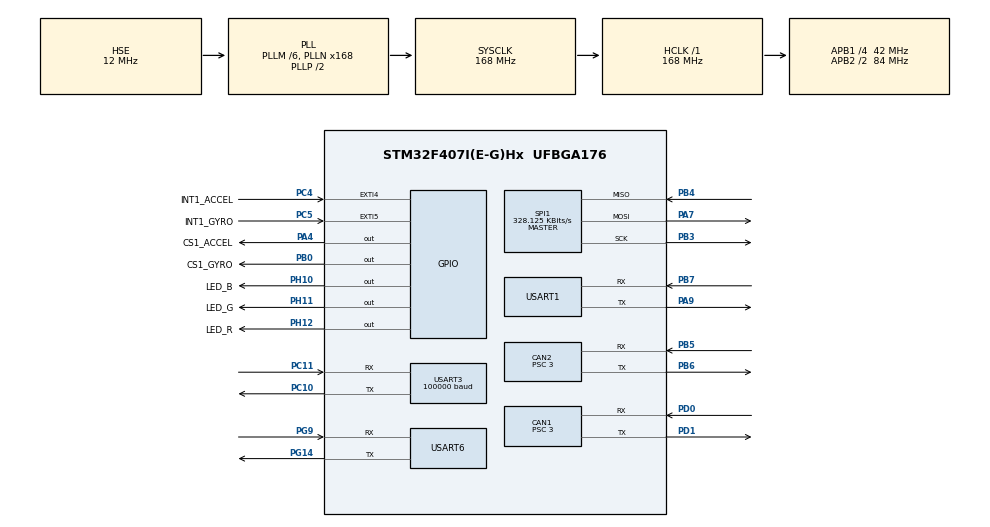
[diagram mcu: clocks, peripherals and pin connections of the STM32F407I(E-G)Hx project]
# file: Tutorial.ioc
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CAN1.BS1=CAN_BS1_10TQ
CAN1.BS2=CAN_BS2_3TQ
CAN1.CalculateBaudRate=1000000
CAN1.CalculateTimeBit=1000
CAN1.CalculateTimeQuantum=71.42857142857143
CAN1.Prescaler=3
CAN2.BS1=CAN_BS1_10TQ
CAN2.BS2=CAN_BS2_3TQ
CAN2.CalculateBaudRate=1000000
CAN2.CalculateTimeBit=1000
CAN2.CalculateTimeQuantum=71.42857142857143
CAN2.Prescaler=3
Dma.Request0=USART3_RX
Dma.Request1=SPI1_RX
Dma.Request2=SPI1_TX
Dma.SPI1_RX.1.Direction=DMA_PERIPH_TO_MEMORY
Dma.SPI1_RX.1.FIFOMode=DMA_FIFOMODE_DISABLE
Dma.SPI1_RX.1.Instance=DMA2_Stream2
Dma.SPI1_RX.1.MemDataAlignment=DMA_MDATAALIGN_BYTE
Dma.SPI1_RX.1.MemInc=DMA_MINC_ENABLE
Dma.SPI1_RX.1.Mode=DMA_NORMAL
Dma.SPI1_RX.1.PeriphDataAlignment=DMA_PDATAALIGN_BYTE
Dma.SPI1_RX.1.PeriphInc=DMA_PINC_DISABLE
Dma.SPI1_RX.1.Priority=DMA_PRIORITY_VERY_HIGH
Dma.SPI1_TX.2.Direction=DMA_MEMORY_TO_PERIPH
Dma.SPI1_TX.2.FIFOMode=DMA_FIFOMODE_DISABLE
Dma.SPI1_TX.2.Instance=DMA2_Stream3
Dma.SPI1_TX.2.MemDataAlignment=DMA_MDATAALIGN_BYTE
Dma.SPI1_TX.2.MemInc=DMA_MINC_ENABLE
Dma.SPI1_TX.2.Mode=DMA_NORMAL
Dma.SPI1_TX.2.PeriphDataAlignment=DMA_PDATAALIGN_BYTE
Dma.SPI1_TX.2.PeriphInc=DMA_PINC_DISABLE
Dma.SPI1_TX.2.Priority=DMA_PRIORITY_HIGH
Dma.USART3_RX.0.Direction=DMA_PERIPH_TO_MEMORY
Dma.USART3_RX.0.FIFOMode=DMA_FIFOMODE_DISABLE
Dma.USART3_RX.0.Instance=DMA1_Stream1
Dma.USART3_RX.0.MemDataAlignment=DMA_MDATAALIGN_BYTE
Dma.USART3_RX.0.MemInc=DMA_MINC_ENABLE
Dma.USART3_RX.0.Mode=DMA_NORMAL
Dma.USART3_RX.0.PeriphDataAlignment=DMA_PDATAALIGN_BYTE
Dma.USART3_RX.0.PeriphInc=DMA_PINC_DISABLE
Dma.USART3_RX.0.Priority=DMA_PRIORITY_VERY_HIGH
FREERTOS.Tasks01=LED_Task,0,128,LEDTask,As weak,NULL,Dynamic,NULL,NULL;Motor_Task,0,128,MotorTask,As weak,NULL,Dynamic,NULL,NULL;INS_TASK,3,2560,INS_Task,As weak,NULL,Dynamic,NULL,NULL;Chassis_TASK,2,128,Chassis_Task,As weak,NULL,Dynamic,NULL,NULL
Mcu.Family=STM32F4
Mcu.Name=STM32F407I(E-G)Hx
Mcu.Package=UFBGA176
NVIC.CAN1_RX0_IRQn=true\:5\:0\:false\:false\:true\:true\:true\:true\:true
NVIC.CAN2_RX0_IRQn=true\:5\:0\:false\:false\:true\:true\:true\:true\:true
NVIC.DMA1_Stream1_IRQn=true\:5\:0\:false\:false\:true\:true\:false\:true\:true
NVIC.DMA2_Stream2_IRQn=true\:5\:0\:false\:false\:true\:false\:false\:true\:true
NVIC.DMA2_Stream3_IRQn=true\:5\:0\:false\:false\:true\:true\:false\:true\:true
NVIC.PriorityGroup=NVIC_PRIORITYGROUP_4
NVIC.TIM2_IRQn=true\:15\:0\:false\:false\:true\:false\:false\:true\:true
NVIC.TimeBase=TIM2_IRQn
NVIC.TimeBaseIP=TIM2
NVIC.USART1_IRQn=true\:5\:0\:false\:false\:true\:true\:true\:true\:true
NVIC.USART3_IRQn=true\:5\:0\:false\:false\:true\:true\:true\:true\:true
NVIC.USART6_IRQn=true\:5\:0\:false\:false\:true\:true\:true\:true\:true
PA13.Mode=Serial_Wire
PA13.Signal=SYS_JTMS-SWDIO
PA14.Mode=Serial_Wire
PA14.Signal=SYS_JTCK-SWCLK
PA4.GPIO_Label=CS1_ACCEL
PA4.GPIO_PuPd=GPIO_PULLUP
PA4.GPIO_Speed=GPIO_SPEED_FREQ_HIGH
PA4.PinState=GPIO_PIN_SET
PA4.Signal=GPIO_Output
PA7.GPIO_PuPd=GPIO_PULLUP
PA7.Mode=Full_Duplex_Master
PA7.Signal=SPI1_MOSI
PA9.Mode=Asynchronous
PA9.Signal=USART1_TX
PB0.GPIO_Label=CS1_GYRO
PB0.GPIO_PuPd=GPIO_PULLUP
PB0.GPIO_Speed=GPIO_SPEED_FREQ_HIGH
PB0.PinState=GPIO_PIN_SET
PB0.Signal=GPIO_Output
PB3.GPIO_PuPd=GPIO_PULLUP
PB3.Mode=Full_Duplex_Master
PB3.Signal=SPI1_SCK
PB4.GPIO_PuPd=GPIO_PULLUP
PB4.Mode=Full_Duplex_Master
PB4.Signal=SPI1_MISO
PB5.Mode=CAN_Activate
PB5.Signal=CAN2_RX
PB6.Mode=CAN_Activate
PB6.Signal=CAN2_TX
PB7.Mode=Asynchronous
PB7.Signal=USART1_RX
PC10.Mode=Asynchronous
PC10.Signal=USART3_TX
PC11.Mode=Asynchronous
PC11.Signal=USART3_RX
PC4.GPIO_Label=INT1_ACCEL
PC4.GPIO_PuPd=GPIO_PULLUP
PC4.Signal=GPXTI4
PC5.GPIO_Label=INT1_GYRO
PC5.GPIO_PuPd=GPIO_PULLUP
PC5.Signal=GPXTI5
PD0.Mode=CAN_Activate
PD0.Signal=CAN1_RX
PD1.Mode=CAN_Activate
PD1.Signal=CAN1_TX
PG14.Mode=Asynchronous
PG14.Signal=USART6_TX
PG9.Mode=Asynchronous
PG9.Signal=USART6_RX
PH0-OSC_IN.Mode=HSE-External-Oscillator
PH0-OSC_IN.Signal=RCC_OSC_IN
PH1-OSC_OUT.Mode=HSE-External-Oscillator
PH1-OSC_OUT.Signal=RCC_OSC_OUT
PH10.GPIO_Label=LED_B
PH10.Signal=GPIO_Output
PH11.GPIO_Label=LED_G
PH11.Signal=GPIO_Output
PH12.GPIO_Label=LED_R
PH12.Signal=GPIO_Output
ProjectManager.HeapSize=0x200
ProjectManager.StackSize=0xA00
ProjectManager.TargetToolchain=MDK-ARM V5
RCC.48MHZClocksFreq_Value=84000000
RCC.AHBFreq_Value=168000000
RCC.APB1CLKDivider=RCC_HCLK_DIV4
RCC.APB1Freq_Value=42000000
RCC.APB1TimFreq_Value=84000000
RCC.APB2CLKDivider=RCC_HCLK_DIV2
RCC.APB2Freq_Value=84000000
RCC.APB2TimFreq_Value=168000000
RCC.CortexFreq_Value=168000000
RCC.HCLKFreq_Value=168000000
RCC.HSE_VALUE=12000000
RCC.HSI_VALUE=16000000
RCC.LSE_VALUE=32768
RCC.PLLM=6
RCC.PLLN=168
RCC.PLLSourceVirtual=RCC_PLLSOURCE_HSE
RCC.SYSCLKFreq_VALUE=168000000
RCC.SYSCLKSource=RCC_SYSCLKSOURCE_PLLCLK
RCC.VCOOutputFreq_Value=336000000
SPI1.BaudRatePrescaler=SPI_BAUDRATEPRESCALER_256
SPI1.CLKPhase=SPI_PHASE_2EDGE
SPI1.CLKPolarity=SPI_POLARITY_HIGH
SPI1.CalculateBaudRate=328.125 KBits/s
SPI1.Direction=SPI_DIRECTION_2LINES
SPI1.Mode=SPI_MODE_MASTER
SPI1.VirtualType=VM_MASTER
USART1.VirtualMode=VM_ASYNC
USART3.BaudRate=100000
USART3.VirtualMode=VM_ASYNC
USART6.VirtualMode=VM_ASYNC
VP_FREERTOS_VS_CMSIS_V1.Mode=CMSIS_V1
VP_SYS_VS_tim2.Mode=TIM2
board=custom

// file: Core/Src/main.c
/* USER CODE BEGIN Header */
/**
  ******************************************************************************
  * @file           : main.c
  * @brief          : Main program body
  ******************************************************************************
  * @attention
  *
  * Copyright (c) 2024 STMicroelectronics.
  * All rights reserved.
  *
  * This software is licensed under terms that can be found in the LICENSE file
  * in the root directory of this software component.
  * If no LICENSE file comes with this software, it is provided AS-IS.
  *
  ******************************************************************************
  */
/* USER CODE END Header */
#include "main.h"
#include "cmsis_os.h"
#include "can.h"
#include "dma.h"
#include "spi.h"
#include "usart.h"
#include "gpio.h"

/* USER CODE BEGIN Includes */
#include "remote_control.h"
#include "bsp_can.h"
#include "bsp_dwt.h"
#include "BMI088driver.h"
#include <stdio.h>
/* USER CODE END Includes */

void SystemClock_Config(void);
void MX_FREERTOS_Init(void);

/* USER CODE BEGIN 0 */
#ifdef SERIAL_PLOT_DEBUG
  #ifdef __GNUC__
  #define PUTCHAR_PROTOTYPE int __io_putchar(int ch)
  #else
  #define PUTCHAR_PROTOTYPE int fputc(int ch, FILE *f)
  #endif
  PUTCHAR_PROTOTYPE
  {
    HAL_UART_Transmit(&huart6, (uint8_t *)&ch, 1, 0xFFFF);

    return ch;
  }
#endif
/* USER CODE END 0 */

int main(void)
{

  /* MCU Configuration--------------------------------------------------------*/

  /* Reset of all peripherals, Initializes the Flash interface and the Systick. */
  HAL_Init();

  /* Configure the system clock */
  SystemClock_Config();

  /* Initialize all configured peripherals */
  MX_GPIO_Init();
  MX_DMA_Init();
  MX_CAN1_Init();
  MX_CAN2_Init();
  MX_USART6_UART_Init();
  MX_USART1_UART_Init();
  MX_USART3_UART_Init();
  MX_SPI1_Init();
  /* USER CODE BEGIN 2 */
  can_filter_init();
  remote_control_init();
  // BMI088 init
  DWT_Init(168);
  while (BMI088_init(&hspi1, 1) != BMI088_NO_ERROR);
  /* USER CODE END 2 */

  /* Call init function for freertos objects (in cmsis_os2.c) */
  MX_FREERTOS_Init();

  /* Start scheduler */
  osKernelStart();

  /* We should never get here as control is now taken by the scheduler */

  /* Infinite loop */
  while (1)
  {

  }
}

void SystemClock_Config(void)
{
  RCC_OscInitTypeDef RCC_OscInitStruct = {0};
  RCC_ClkInitTypeDef RCC_ClkInitStruct = {0};

  /** Configure the main internal regulator output voltage
  */
  __HAL_RCC_PWR_CLK_ENABLE();
  __HAL_PWR_VOLTAGESCALING_CONFIG(PWR_REGULATOR_VOLTAGE_SCALE1);

  /** Initializes the RCC Oscillators according to the specified parameters
  * in the RCC_OscInitTypeDef structure.
  */
  RCC_OscInitStruct.OscillatorType = RCC_OSCILLATORTYPE_HSE;
  RCC_OscInitStruct.HSEState = RCC_HSE_ON;
  RCC_OscInitStruct.PLL.PLLState = RCC_PLL_ON;
  RCC_OscInitStruct.PLL.PLLSource = RCC_PLLSOURCE_HSE;
  RCC_OscInitStruct.PLL.PLLM = 6;
  RCC_OscInitStruct.PLL.PLLN = 168;
  RCC_OscInitStruct.PLL.PLLP = RCC_PLLP_DIV2;
  RCC_OscInitStruct.PLL.PLLQ = 4;
  if (HAL_RCC_OscConfig(&RCC_OscInitStruct) != HAL_OK)
  {
    Error_Handler();
  }

  /** Initializes the CPU, AHB and APB buses clocks
  */
  RCC_ClkInitStruct.ClockType = RCC_CLOCKTYPE_HCLK|RCC_CLOCKTYPE_SYSCLK
                              |RCC_CLOCKTYPE_PCLK1|RCC_CLOCKTYPE_PCLK2;
  RCC_ClkInitStruct.SYSCLKSource = RCC_SYSCLKSOURCE_PLLCLK;
  RCC_ClkInitStruct.AHBCLKDivider = RCC_SYSCLK_DIV1;
  RCC_ClkInitStruct.APB1CLKDivider = RCC_HCLK_DIV4;
  RCC_ClkInitStruct.APB2CLKDivider = RCC_HCLK_DIV2;

  if (HAL_RCC_ClockConfig(&RCC_ClkInitStruct, FLASH_LATENCY_5) != HAL_OK)
  {
    Error_Handler();
  }
}

void HAL_TIM_PeriodElapsedCallback(TIM_HandleTypeDef *htim)
{
  if (htim->Instance == TIM2) {
    HAL_IncTick();
  }
}

void Error_Handler(void)
{
  __disable_irq();
  while (1)
  {
  }
}

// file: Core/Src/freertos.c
/* USER CODE BEGIN Header */
/**
  ******************************************************************************
  * File Name          : freertos.c
  * Description        : Code for freertos applications
  ******************************************************************************
  * @attention
  *
  * Copyright (c) 2024 STMicroelectronics.
  * All rights reserved.
  *
  * This software is licensed under terms that can be found in the LICENSE file
  * in the root directory of this software component.
  * If no LICENSE file comes with this software, it is provided AS-IS.
  *
  ******************************************************************************
  */
/* USER CODE END Header */

#include "FreeRTOS.h"
#include "task.h"
#include "main.h"
#include "cmsis_os.h"

osThreadId LED_TaskHandle;
osThreadId Motor_TaskHandle;
osThreadId INS_TASKHandle;
osThreadId Chassis_TASKHandle;

void LEDTask(void const * argument);
void MotorTask(void const * argument);
void INS_Task(void const * argument);
void Chassis_Task(void const * argument);

void MX_FREERTOS_Init(void); /* (MISRA C 2004 rule 8.1) */

/* GetIdleTaskMemory prototype (linked to static allocation support) */
void vApplicationGetIdleTaskMemory( StaticTask_t **ppxIdleTaskTCBBuffer, StackType_t **ppxIdleTaskStackBuffer, uint32_t *pulIdleTaskStackSize );

/* USER CODE BEGIN GET_IDLE_TASK_MEMORY */
static StaticTask_t xIdleTaskTCBBuffer;
static StackType_t xIdleStack[configMINIMAL_STACK_SIZE];

void vApplicationGetIdleTaskMemory( StaticTask_t **ppxIdleTaskTCBBuffer, StackType_t **ppxIdleTaskStackBuffer, uint32_t *pulIdleTaskStackSize )
{
  *ppxIdleTaskTCBBuffer = &xIdleTaskTCBBuffer;
  *ppxIdleTaskStackBuffer = &xIdleStack[0];
  *pulIdleTaskStackSize = configMINIMAL_STACK_SIZE;
  /* place for user code */
}
/* USER CODE END GET_IDLE_TASK_MEMORY */

void MX_FREERTOS_Init(void) {

  /* Create the thread(s) */
  /* definition and creation of LED_Task */
  osThreadDef(LED_Task, LEDTask, osPriorityNormal, 0, 128);
  LED_TaskHandle = osThreadCreate(osThread(LED_Task), NULL);

  /* definition and creation of Motor_Task */
  osThreadDef(Motor_Task, MotorTask, osPriorityNormal, 0, 128);
  Motor_TaskHandle = osThreadCreate(osThread(Motor_Task), NULL);

  /* definition and creation of INS_TASK */
  osThreadDef(INS_TASK, INS_Task, osPriorityRealtime, 0, 2560);
  INS_TASKHandle = osThreadCreate(osThread(INS_TASK), NULL);

  /* definition and creation of Chassis_TASK */
  osThreadDef(Chassis_TASK, Chassis_Task, osPriorityHigh, 0, 128);
  Chassis_TASKHandle = osThreadCreate(osThread(Chassis_TASK), NULL);

}

__weak void LEDTask(void const * argument)
{
  for(;;)
  {
    osDelay(1);
  }
}

__weak void MotorTask(void const * argument)
{
  for(;;)
  {
    osDelay(1);
  }
}

__weak void INS_Task(void const * argument)
{
  for(;;)
  {
    osDelay(1);
  }
}

__weak void Chassis_Task(void const * argument)
{
  for(;;)
  {
    osDelay(1);
  }
}
